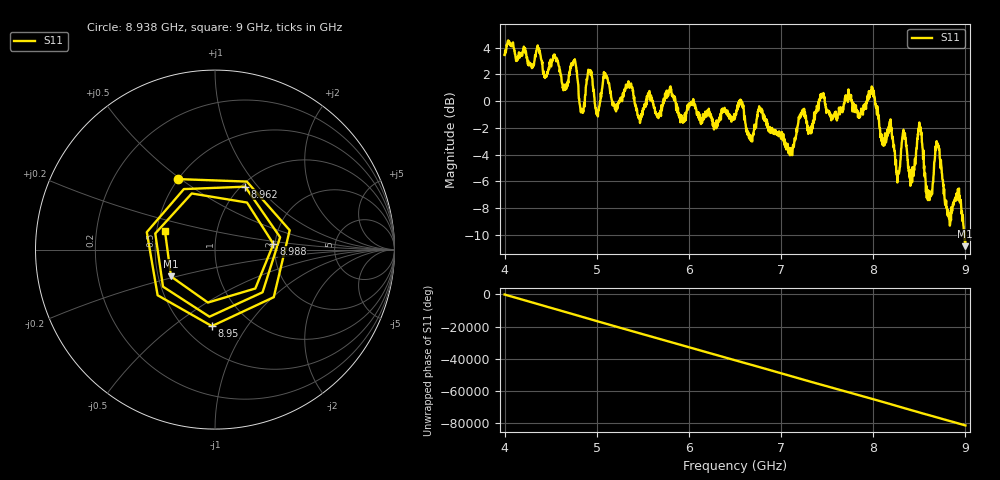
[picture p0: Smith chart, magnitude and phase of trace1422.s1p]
! Created with skrf 1.8.0 (http://scikit-rf.org).
# Hz S RI R 50.0
!freq ReS11 ImS11
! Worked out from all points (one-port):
!   1601 points, 4 GHz to 9 GHz, reference 50 ohm
!   lowest |S11| = -10.8 dB at 8.997 GHz (marker M1), VSWR 1.81, Z = 29.2 - j9.51 ohm
!   |S11| at or under -10 dB: 8.990166 GHz to end of sweep
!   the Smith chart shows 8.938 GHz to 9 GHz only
!   S11 on the Smith chart (normalised r, x): 8.938 GHz: 0.50, +0.49; 8.95 GHz: 0.67, -0.70; 8.962 GHz: 1.04, +0.86; 8.988 GHz: 1.96, +0.14; 9 GHz: 0.55, +0.13
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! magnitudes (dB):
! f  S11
! 4 GHz  3.5
! 4.625 GHz  1.3
! 4.747 GHz  2.9
! 4.838 GHz  -0.6
! 4.922 GHz  2.3
! 5.003 GHz  -1.0
! 5.094 GHz  2.1
! 5.25 GHz  0.1
! 5.875 GHz  -0.6
! 6.5 GHz  -1.2
! 7.125 GHz  -3.6
! 7.225 GHz  -0.9
! 7.75 GHz  0.4
! 7.991 GHz  0.5
! 8.262 GHz  -6.1
! 8.328 GHz  -2.1
! 8.375 GHz  -4.4
! 8.419 GHz  -5.3
! 8.503 GHz  -2.1
! 8.597 GHz  -6.7
! 8.694 GHz  -3.2
! 8.819 GHz  -8.3
! 8.938 GHz  -7.1
! 8.95 GHz  -7.4
! 8.962 GHz  -8.2
! 8.988 GHz  -9.7
! 8.997 GHz  -10.8
! 9 GHz  -10.5
